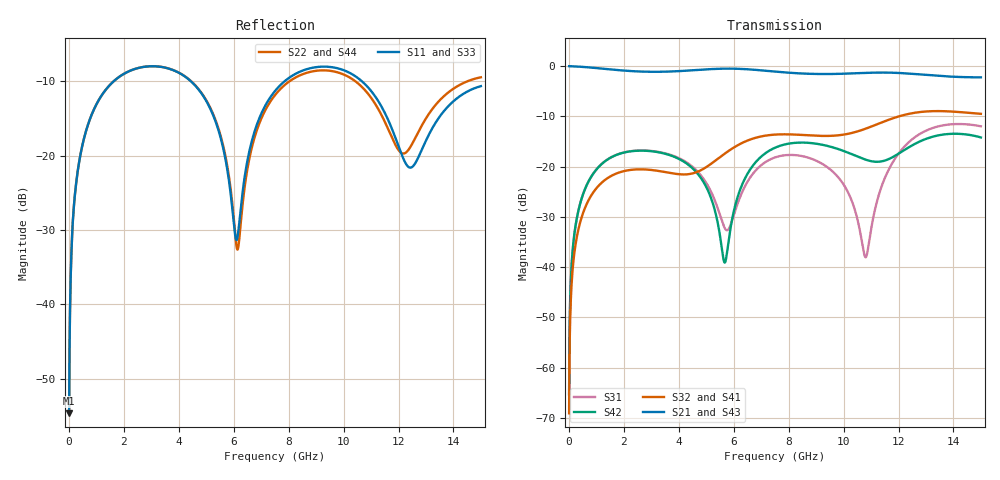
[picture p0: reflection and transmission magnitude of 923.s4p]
! Created with skrf 1.8.0 (http://scikit-rf.org).
# GHz S RI R 50.0
!freq ReS11 ImS11 ReS12 ImS12 ReS13 ImS13
! ReS14 ImS14
! ReS21 ImS21 ReS22 ImS22 ReS23 ImS23
! ReS24 ImS24
! ReS31 ImS31 ReS32 ImS32 ReS33 ImS33
! ReS34 ImS34
! ReS41 ImS41 ReS42 ImS42 ReS43 ImS43
! ReS44 ImS44
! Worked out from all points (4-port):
!   2499 points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, 5 MHz to 15 GHz, reference 50 ohm
!   strongest paths, dB at 5 MHz, 3.476 GHz, 7.19 GHz, 11.1 GHz, 15 GHz:
!     S21: 0.0, -1.1, -0.9, -1.3, -2.2
!     S43: 0.0, -1.1, -0.9, -1.3, -2.3
!     S32: -69.1, -21.1, -13.8, -11.8, -9.5
!     S41: -69.1, -21.1, -13.8, -11.8, -9.5
!     S42: -65.3, -17.4, -17.2, -19.0, -14.2
!     S31: -65.3, -17.3, -19.0, -29.7, -12.0
!   lowest |S11| = -54.7 dB at 5 MHz (marker M1), VSWR 1.00, Z = 50.1 + j0.113 ohm
!   |S11| at or under -10 dB: start of sweep to 1.634 GHz; 4.433 GHz to 7.858 GHz (3.425 GHz wide, 55.7 % of centre); 10.66 GHz to end of sweep
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0.005  0.00147 0.00112  0.9985 -0.00286  7.18e-05 0.000537  -7e-05 -0.000344
       0.9985 -0.00286  0.00147 0.00112  -7e-05 -0.000344  7.17e-05 0.000537
       7.18e-05 0.000537  -7e-05 -0.000344  0.00147 0.00112  0.9985 -0.00286
       -7e-05 -0.000344  7.17e-05 0.000537  0.9985 -0.00286  0.00147 0.00112
0.3126303  0.02 0.0746  0.9729 -0.1788  0.0084 0.0323  -0.00705 -0.0205
           0.9729 -0.1788  0.02 0.0746  -0.00706 -0.0205  0.00836 0.0323
           0.0084 0.0323  -0.00706 -0.0205  0.02 0.0746  0.9729 -0.1788
           -0.00705 -0.0205  0.00836 0.0323  0.9729 -0.1788  0.02 0.0746
1.519383  0.2323 0.1926  0.6298 -0.6792  0.1049 0.0644  -0.0781 -0.0184
          0.6298 -0.6792  0.2324 0.1927  -0.0781 -0.0184  0.1043 0.0651
          0.1049 0.0644  -0.0781 -0.0184  0.2323 0.1926  0.6297 -0.6792
          -0.0781 -0.0184  0.1043 0.0651  0.6297 -0.6792  0.2324 0.1927
5.92747  0.0297 -0.0372  -0.9308 -0.1534  -0.0223 0.0176  -0.0217 0.1487
         -0.9308 -0.1534  0.0271 -0.0438  -0.0203 0.1489  0.0163 0.0235
         -0.0223 0.0176  -0.0203 0.1489  0.031 -0.0381  -0.9308 -0.1535
         -0.0217 0.1487  0.0163 0.0235  -0.9308 -0.1535  0.0262 -0.045
9.466444  0.3925 -0.0386  0.0152 0.834  0.0876 -0.0393  0.1963 -0.0457
          0.0152 0.834  0.3714 -0.0153  0.1962 -0.0484  0.0895 -0.1318
          0.0876 -0.0393  0.1962 -0.0484  0.3912 -0.04  0.016 0.8343
          0.1963 -0.0457  0.0895 -0.1318  0.016 0.8343  0.3707 -0.015
10.8045  0.2397 -0.1779  0.5303 0.6722  -0.0104 -0.00702  0.1851 -0.1501
         0.5303 0.6722  0.2332 -0.1393  0.1828 -0.153  -0.0699 -0.094
         -0.0104 -0.00702  0.1828 -0.153  0.2382 -0.1778  0.5318 0.6715
         0.1851 -0.1501  -0.0699 -0.094  0.5318 0.6715  0.2318 -0.1388
15  0.2907 0.0321  0.2923 -0.7155  0.2365 -0.0865  -0.3297 -0.0491
    0.2923 -0.7155  0.335 0.0196  -0.3324 -0.0429  0.1949 -0.00796
    0.2365 -0.0865  -0.3324 -0.0429  0.2935 0.0333  0.2886 -0.715
    -0.3297 -0.0491  0.1949 -0.00796  0.2886 -0.715  0.3411 0.0195
